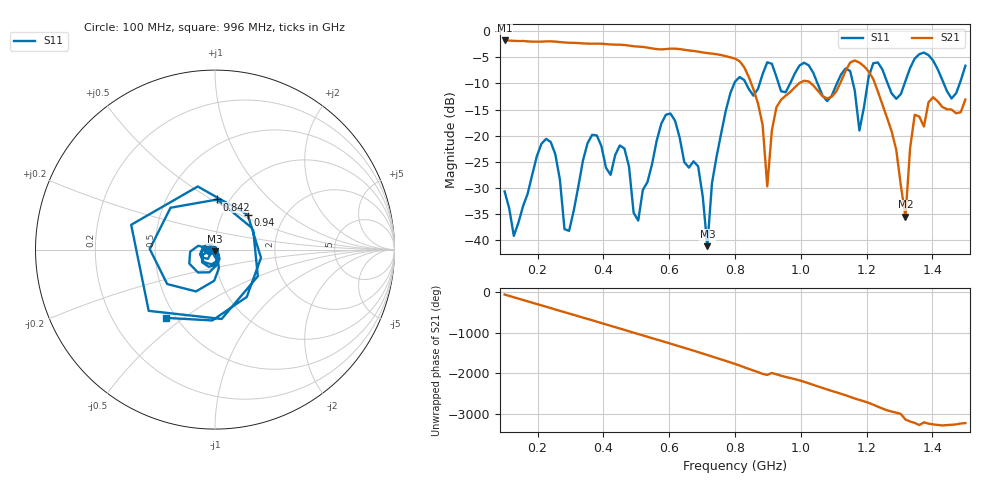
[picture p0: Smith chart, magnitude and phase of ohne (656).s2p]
! NanoVNA-App
! Date: 2025-09-25 14:25:54
! Start: 100MHz Stop: 1,5GHz Points: 101
! S-Parameter data: F S11 S21 S12 S22
# Hz S RI R 50
!  Frequency  S11_Real  S11_Imag  S21_Real  S21_Imag  S12_Real  S12_Imag  S22_Real  S22_Imag
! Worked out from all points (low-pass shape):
!   101 points, 100 MHz to 1.5 GHz, reference 50 ohm
!   highest |S21| = -1.79 dB at 100 MHz (marker M1); lowest = -35.5 dB at 1.318 GHz (marker M2)
!   |S21| within 3 dB of the highest: start of sweep to 771.6 MHz
!   lowest |S11| = -41.1 dB at 716 MHz (marker M3), VSWR 1.02, Z = 49.8 - j0.866 ohm
!   |S11| at or under -10 dB: start of sweep to 797.9 MHz; 833.2 MHz to 875.1 MHz (41.89 MHz wide, 4.9 % of centre); 1.051 GHz to 1.11 GHz (59.02 MHz wide, 5.46 % of centre) (the widest 3 of 7)
!   S12 and S22 are empty: the file has one direction only
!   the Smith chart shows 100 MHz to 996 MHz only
!   S11 on the Smith chart (normalised r, x): 100 MHz: 0.94, -0.01; 842 MHz: 0.88, +0.53; 940 MHz: 1.32, +0.55; 996 MHz: 0.44, -0.43
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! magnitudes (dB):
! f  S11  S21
! 100 MHz  -30.6  -1.8
! 128 MHz  -39.1  -1.9
! 226 MHz  -20.6  -2.0
! 296 MHz  -38.2  -2.2
! 338 MHz  -24.8  -2.4
! 464 MHz  -22.4  -2.7
! 506 MHz  -36.2  -3.0
! 576 MHz  -17.7  -3.5
! 688 MHz  -25.8  -3.9
! 716 MHz  -41.1  -4.2
! 800 MHz  -9.7  -5.3
! 842 MHz  -11.1  -8.8
! 898 MHz  -6.0  -29.7
! 940 MHz  -11.5  -13.1
! 996 MHz  -6.6  -9.9
! 1.038 GHz  -8.0  -10.4
! 1.178 GHz  -19.0  -6.0
! 1.22 GHz  -6.2  -9.2
! 1.276 GHz  -11.9  -19.2
! 1.318 GHz  -9.5  -35.5
! 1.346 GHz  -5.3  -16.0
! 1.5 GHz  -6.6  -13.1
